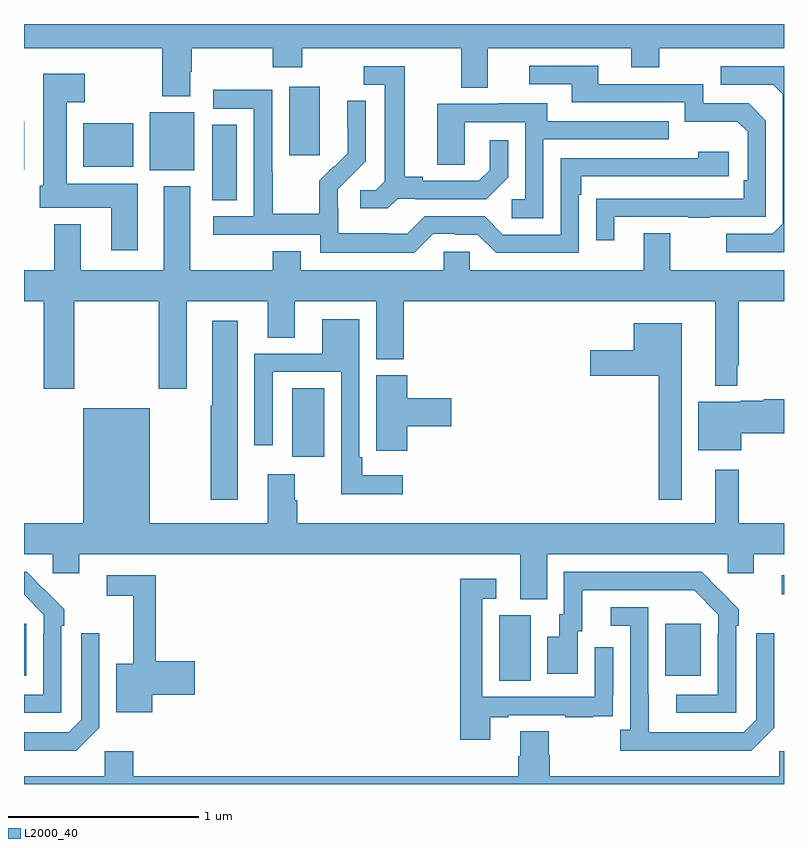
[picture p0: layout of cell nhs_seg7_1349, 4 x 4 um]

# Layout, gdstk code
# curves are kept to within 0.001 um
import gdstk
lib = gdstk.Library(unit=1e-6, precision=1e-09)
def R(c, l, rs):  # rectangles x0, y0, x1, y1
    for r in rs: c.add(gdstk.rectangle(r[:2], r[2:], *l))
def P(c, l, *ps):  # polygons
    for p in ps: c.add(gdstk.Polygon(p, *l))
L2000_40 = (2000, 40)

nhs_seg7_1349 = lib.new_cell('nhs_seg7_1349')
R(nhs_seg7_1349, L2000_40, [(205.502,1074.544,205.666,1074.888), (203,1074.569,203.011,1074.844), (206.375,1074.569,206.563,1074.844), (206.988,1075,207,1075.098), (204.413,1075.722,204.58,1076.084), (203.99,1077.073,204.121,1077.47), (203.663,1077.23,203.896,1077.535), (203,1077.233,203.002,1077.487), (203.312,1077.248,203.575,1077.478), (204.395,1077.309,204.556,1077.67)])
P(nhs_seg7_1349, L2000_40, [(203.875,1077.748),(203.883,1077.748),(203.883,1077.872),(204.31,1077.872),(204.31,1077.773),(204.465,1077.773),(204.465,1077.872),(205.301,1077.872),(205.301,1077.664),(205.441,1077.664),(205.441,1077.872),(206.195,1077.872),(206.195,1077.773),(206.343,1077.773),(206.343,1077.872),(207,1077.872),(207,1078),(203,1078),(203,1077.872),(203.728,1077.872),(203.728,1077.62),(203.875,1077.62)],
  [(206.107,1076.985),(206.497,1076.985),(206.497,1076.98),(206.609,1076.98),(206.609,1076.985),(206.904,1076.985),(206.904,1077.492),(206.814,1077.582),(206.574,1077.582),(206.574,1077.684),(206.023,1077.684),(206.023,1077.78),(205.659,1077.78),(205.659,1077.684),(205.883,1077.684),(205.883,1077.588),(206.478,1077.588),(206.478,1077.485),(206.755,1077.485),(206.808,1077.432),(206.808,1077.178),(206.788,1077.178),(206.788,1077.081),(206.011,1077.08),(206.011,1076.862),(206.107,1076.862)],
  [(207,1076.802),(207,1077.777),(206.667,1077.777),(206.667,1077.681),(206.943,1077.681),(206.994,1077.63),(206.994,1076.949),(206.94,1076.895),(206.697,1076.895),(206.697,1076.799),(206.997,1076.799)],
  [(204.966,1077.081),(205.06,1077.081),(205.06,1077.078),(205.432,1077.078),(205.548,1077.194),(205.548,1077.388),(205.451,1077.388),(205.451,1077.231),(205.394,1077.174),(205.099,1077.174),(205.099,1077.197),(205.003,1077.197),(205.003,1077.777),(204.789,1077.777),(204.789,1077.681),(204.899,1077.681),(204.899,1077.173),(204.852,1077.126),(204.771,1077.126),(204.771,1077.029),(204.914,1077.029)],
  [(203.599,1077.16),(203.224,1077.16),(203.224,1077.587),(203.32,1077.587),(203.32,1077.739),(203.102,1077.739),(203.102,1077.15),(203.084,1077.15),(203.084,1077.032),(203.459,1077.032),(203.459,1076.808),(203.599,1076.808)],
  [(205.155,1076.895),(205.271,1076.895),(205.271,1076.892),(205.389,1076.892),(205.485,1076.796),(205.92,1076.796),(205.92,1077.101),(205.933,1077.101),(205.933,1077.198),(206.71,1077.198),(206.71,1077.328),(206.549,1077.328),(206.549,1077.294),(205.824,1077.294),(205.824,1076.892),(205.521,1076.892),(205.425,1076.988),(205.11,1076.988),(205.017,1076.895),(204.917,1076.895),(204.917,1076.899),(204.654,1076.899),(204.654,1077.033),(204.652,1077.033),(204.652,1077.13),(204.798,1077.278),(204.798,1077.596),(204.701,1077.596),(204.701,1077.455),(204.704,1077.455),(204.704,1077.32),(204.633,1077.249),(204.63,1077.252),(204.553,1077.175),(204.553,1077.001),(204.309,1077.001),(204.309,1077.221),(204.306,1077.221),(204.306,1077.654),(203.997,1077.654),(203.997,1077.555),(204.21,1077.555),(204.21,1076.988),(203.997,1076.988),(203.997,1076.892),(204.558,1076.892),(204.558,1076.795),(205.055,1076.795)],
  [(205.734,1077.393),(206.393,1077.393),(206.393,1077.489),(205.753,1077.489),(205.753,1077.583),(205.499,1077.583),(205.499,1077.579),(205.175,1077.579),(205.175,1077.259),(205.32,1077.259),(205.32,1077.483),(205.638,1077.483),(205.638,1077.078),(205.566,1077.078),(205.566,1076.977),(205.734,1076.977)],
  [(203.265,1076.54),(203.71,1076.54),(203.71,1076.079),(203.857,1076.079),(203.857,1076.54),(204.284,1076.54),(204.284,1076.35),(204.424,1076.35),(204.424,1076.54),(204.854,1076.54),(204.854,1076.236),(204.998,1076.236),(204.998,1076.54),(206.639,1076.54),(206.639,1076.096),(206.753,1076.096),(206.753,1076.203),(206.761,1076.203),(206.761,1076.54),(207,1076.54),(207,1076.704),(206.401,1076.704),(206.401,1076.899),(206.261,1076.899),(206.261,1076.704),(205.347,1076.704),(205.347,1076.802),(205.209,1076.802),(205.209,1076.704),(204.457,1076.704),(204.457,1076.803),(204.31,1076.803),(204.31,1076.704),(203.875,1076.704),(203.875,1077.145),(203.735,1077.145),(203.735,1076.704),(203.299,1076.704),(203.299,1076.947),(203.159,1076.947),(203.159,1076.704),(203,1076.704),(203,1076.54),(203.105,1076.54),(203.105,1076.079),(203.265,1076.079)],
  [(204.994,1075.624),(204.781,1075.624),(204.781,1075.72),(204.765,1075.72),(204.765,1076.446),(204.569,1076.446),(204.569,1076.265),(204.213,1076.265),(204.213,1075.782),(204.309,1075.782),(204.309,1076.169),(204.669,1076.169),(204.669,1075.526),(204.994,1075.526)],
  [(204.124,1076.437),(203.99,1076.437),(203.99,1075.991),(203.983,1075.991),(203.983,1075.497),(204.124,1075.497)],
  [(206.461,1076.425),(206.21,1076.425),(206.21,1076.284),(205.98,1076.284),(205.98,1076.15),(206.34,1076.15),(206.34,1075.497),(206.461,1075.497)],
  [(205.016,1075.883),(205.249,1075.883),(205.249,1076.03),(205.016,1076.03),(205.016,1076.151),(204.854,1076.151),(204.854,1075.867),(204.855,1075.867),(204.855,1075.755),(205.016,1075.755)],
  [(206.776,1075.846),(207,1075.846),(207,1076.024),(206.894,1076.024),(206.894,1076.017),(206.772,1076.017),(206.772,1076.011),(206.549,1076.011),(206.549,1075.757),(206.776,1075.757)],
  [(205.753,1075.208),(206.703,1075.208),(206.703,1075.11),(206.842,1075.11),(206.842,1075.208),(207,1075.208),(207,1075.372),(206.761,1075.372),(206.761,1075.654),(206.639,1075.654),(206.639,1075.372),(204.437,1075.372),(204.437,1075.493),(204.424,1075.493),(204.424,1075.63),(204.284,1075.63),(204.284,1075.372),(203.662,1075.372),(203.662,1075.978),(203.312,1075.978),(203.312,1075.372),(203,1075.372),(203,1075.208),(203.151,1075.208),(203.151,1075.11),(203.29,1075.11),(203.29,1075.208),(205.613,1075.208),(205.613,1074.973),(205.753,1074.973)],
  [(206.748,1074.833),(206.763,1074.833),(206.763,1074.921),(206.566,1075.116),(205.842,1075.116),(205.842,1074.894),(205.817,1074.894),(205.817,1074.775),(205.754,1074.775),(205.754,1074.579),(205.915,1074.579),(205.915,1074.804),(205.939,1074.804),(205.939,1075.02),(206.527,1075.02),(206.655,1074.891),(206.655,1074.791),(206.652,1074.791),(206.652,1074.471),(206.433,1074.471),(206.433,1074.375),(206.748,1074.375)],
  [(203.196,1074.833),(203.211,1074.833),(203.211,1074.921),(203.014,1075.116),(203,1075.116),(203,1074.995),(203.103,1074.891),(203.103,1074.791),(203.1,1074.791),(203.1,1074.471),(203,1074.471),(203,1074.375),(203.196,1074.375)],
  [(203.674,1074.469),(203.899,1074.469),(203.899,1074.647),(203.693,1074.647),(203.693,1075.098),(203.436,1075.098),(203.436,1074.99),(203.576,1074.99),(203.576,1074.634),(203.486,1074.634),(203.486,1074.377),(203.674,1074.377)],
  [(205.453,1074.351),(205.549,1074.351),(205.549,1074.363),(205.849,1074.363),(205.849,1074.351),(205.997,1074.351),(205.997,1074.357),(206.099,1074.357),(206.099,1074.466),(206.1,1074.466),(206.1,1074.721),(206.004,1074.721),(206.004,1074.459),(205.413,1074.459),(205.413,1074.975),(205.486,1074.975),(205.486,1075.081),(205.297,1075.081),(205.297,1074.234),(205.453,1074.234)],
  [(206.949,1074.297),(206.949,1074.793),(206.853,1074.793),(206.853,1074.339),(206.787,1074.273),(206.287,1074.273),(206.286,1074.93),(206.088,1074.93),(206.088,1074.834),(206.19,1074.834),(206.19,1074.286),(206.139,1074.286),(206.139,1074.176),(206.828,1074.176)],
  [(203.397,1074.297),(203.397,1074.793),(203.301,1074.793),(203.301,1074.339),(203.235,1074.273),(203,1074.273),(203,1074.176),(203.276,1074.176)],
  [(207,1074.172),(206.976,1074.172),(206.976,1074.04),(205.766,1074.04),(205.766,1074.153),(205.761,1074.153),(205.761,1074.278),(205.613,1074.278),(205.613,1074.146),(205.601,1074.146),(205.601,1074.04),(203.576,1074.04),(203.576,1074.172),(203.424,1074.172),(203.424,1074.04),(203,1074.04),(203,1074),(207,1074)])

lib.write_gds('nhs_seg7_1349.gds')
